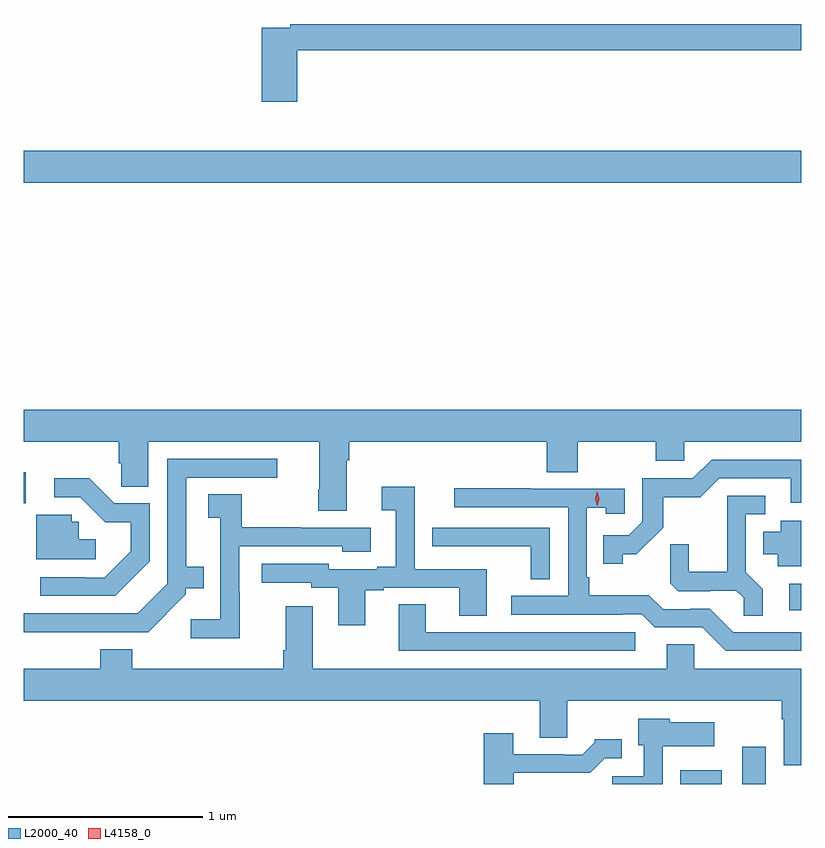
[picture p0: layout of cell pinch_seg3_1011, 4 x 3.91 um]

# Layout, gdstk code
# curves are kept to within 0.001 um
import gdstk
lib = gdstk.Library(unit=1e-6, precision=1e-09)
def R(c, l, rs):  # rectangles x0, y0, x1, y1
    for r in rs: c.add(gdstk.rectangle(r[:2], r[2:], *l))
def P(c, l, *ps):  # polygons
    for p in ps: c.add(gdstk.Polygon(p, *l))
L2000_40 = (2000, 40)
L4158_0 = (4158, 0)

pinch_seg3_1011 = lib.new_cell('pinch_seg3_1011')
R(pinch_seg3_1011, L2000_40, [(482.724,679.175,482.938,679.245), (483.044,679.175,483.166,679.366), (483.285,680.069,483.348,680.205), (479.348,680.618,479.359,680.779), (479.348,682.268,483.348,682.432)])
P(pinch_seg3_1011, L2000_40, [(480.755,682.948),(483.348,682.948),(483.348,683.084),(480.718,683.084),(480.718,683.064),(480.572,683.064),(480.572,682.683),(480.755,682.683)],
  [(481.009,680.84),(481.022,680.84),(481.022,680.936),(482.039,680.936),(482.039,680.779),(482.199,680.779),(482.199,680.936),(482.599,680.936),(482.599,680.838),(482.745,680.838),(482.745,680.936),(483.348,680.936),(483.348,681.1),(479.348,681.1),(479.348,680.936),(479.837,680.936),(479.837,680.826),(479.851,680.826),(479.851,680.704),(479.989,680.704),(479.989,680.936),(480.869,680.936),(480.869,680.692),(480.862,680.692),(480.862,680.58),(481.009,680.58)],
  [(479.657,679.956),(479.988,679.956),(480.183,680.151),(480.183,680.183),(480.275,680.183),(480.275,680.293),(480.184,680.293),(480.184,680.751),(480.652,680.751),(480.652,680.847),(480.087,680.847),(480.087,680.205),(479.934,680.052),(479.348,680.052),(479.348,679.955)],
  [(482.43,680.357),(482.5,680.357),(482.638,680.494),(482.638,680.65),(482.827,680.65),(482.925,680.748),(483.293,680.748),(483.293,680.622),(483.348,680.622),(483.348,680.844),(482.886,680.844),(482.79,680.748),(482.529,680.748),(482.529,680.523),(482.46,680.454),(482.329,680.454),(482.329,680.307),(482.43,680.307)],
  [(479.997,680.321),(479.997,680.619),(479.814,680.619),(479.686,680.747),(479.505,680.747),(479.505,680.649),(479.64,680.649),(479.767,680.522),(479.9,680.522),(479.9,680.372),(479.763,680.235),(479.663,680.235),(479.663,680.238),(479.433,680.238),(479.433,680.142),(479.818,680.142)],
  [(481.105,680.172),(481.201,680.172),(481.201,680.184),(481.589,680.184),(481.589,680.041),(481.729,680.041),(481.729,680.28),(481.359,680.28),(481.359,680.704),(481.191,680.704),(481.191,680.584),(481.262,680.584),(481.262,680.293),(481.166,680.293),(481.166,680.28),(480.918,680.28),(480.918,680.307),(480.573,680.307),(480.573,680.211),(480.828,680.211),(480.828,680.184),(480.965,680.184),(480.965,679.992),(481.105,679.992)],
  [(483.348,679.956),(482.997,679.956),(482.877,680.076),(482.776,680.076),(482.776,680.073),(482.637,680.073),(482.564,680.146),(482.257,680.146),(482.257,680.239),(482.244,680.239),(482.244,680.597),(482.343,680.597),(482.343,680.565),(482.439,680.565),(482.439,680.694),(481.955,680.694),(481.955,680.697),(481.563,680.697),(481.563,680.598),(482.148,680.598),(482.148,680.142),(481.857,680.142),(481.857,680.046),(482.426,680.046),(482.426,680.049),(482.526,680.049),(482.595,679.98),(482.838,679.98),(482.958,679.86),(483.348,679.86)],
  [(480.459,680.165),(480.456,680.165),(480.456,680.397),(480.987,680.397),(480.987,680.369),(481.132,680.369),(481.132,680.493),(480.773,680.493),(480.773,680.496),(480.469,680.496),(480.469,680.666),(480.297,680.666),(480.297,680.545),(480.36,680.545),(480.36,680.023),(480.207,680.023),(480.207,679.925),(480.459,679.925)],
  [(483.149,680.177),(483.063,680.263),(483.063,680.562),(483.163,680.562),(483.163,680.658),(482.966,680.658),(482.966,680.266),(482.768,680.266),(482.768,680.409),(482.674,680.409),(482.674,680.207),(482.715,680.166),(482.88,680.166),(482.88,680.169),(483.014,680.169),(483.051,680.132),(483.051,680.041),(483.149,680.041)],
  [(479.719,680.434),(479.631,680.434),(479.631,680.523),(479.595,680.523),(479.595,680.559),(479.414,680.559),(479.414,680.331),(479.719,680.331)],
  [(483.348,680.53),(483.242,680.53),(483.242,680.473),(483.152,680.473),(483.152,680.357),(483.227,680.357),(483.227,680.294),(483.348,680.294)],
  [(482.055,680.493),(481.449,680.493),(481.449,680.398),(481.561,680.398),(481.561,680.397),(481.957,680.397),(481.957,680.227),(482.055,680.227)],
  [(482.494,679.956),(481.417,679.956),(481.417,680.099),(481.277,680.099),(481.277,679.86),(482.494,679.86)],
  [(482.657,679.895),(482.657,679.768),(480.835,679.768),(480.835,680.089),(480.695,680.089),(480.695,679.864),(480.683,679.864),(480.683,679.768),(479.906,679.768),(479.906,679.867),(479.741,679.867),(479.741,679.768),(479.348,679.768),(479.348,679.604),(482.003,679.604),(482.003,679.414),(482.143,679.414),(482.143,679.604),(483.246,679.604),(483.246,679.508),(483.258,679.508),(483.258,679.272),(483.348,679.272),(483.348,679.768),(482.796,679.768),(482.796,679.895)],
  [(482.634,679.37),(482.899,679.37),(482.899,679.492),(482.67,679.492),(482.67,679.51),(482.51,679.51),(482.51,679.374),(482.538,679.374),(482.538,679.215),(482.375,679.215),(482.375,679.175),(482.634,679.175)],
  [(481.87,679.232),(482.261,679.232),(482.337,679.308),(482.425,679.308),(482.425,679.405),(482.286,679.405),(482.286,679.39),(482.222,679.326),(482.123,679.326),(482.123,679.329),(481.867,679.329),(481.867,679.435),(481.715,679.435),(481.715,679.175),(481.87,679.175)])
P(pinch_seg3_1011, L4158_0, [(482.298,680.607),(482.298,680.607),(482.288,680.643),(482.298,680.679),(482.298,680.679),(482.299,680.679),(482.308,680.643),(482.299,680.607)])

lib.write_gds('pinch_seg3_1011.gds')
